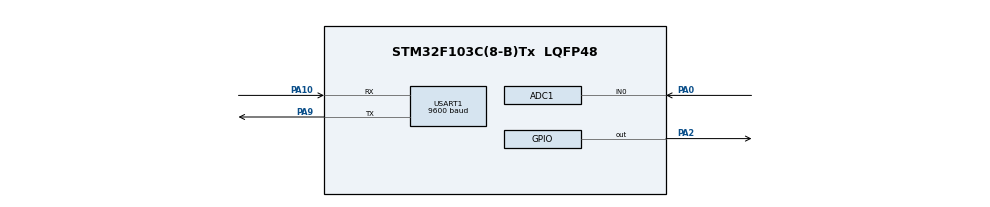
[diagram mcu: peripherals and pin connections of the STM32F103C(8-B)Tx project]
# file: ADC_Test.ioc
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ADC1.Channel-0\#ChannelRegularConversion=ADC_CHANNEL_0
ADC1.ContinuousConvMode=ENABLE
ADC1.DataAlign=ADC_DATAALIGN_RIGHT
ADC1.DiscontinuousConvMode=DISABLE
ADC1.EnableAnalogWatchDog=false
ADC1.EnableRegularConversion=ENABLE
ADC1.ExternalTrigConv=ADC_SOFTWARE_START
ADC1.InjNumberOfConversion=0
ADC1.NbrOfConversion=1
ADC1.NbrOfConversionFlag=1
ADC1.Rank-0\#ChannelRegularConversion=1
ADC1.SamplingTime-0\#ChannelRegularConversion=ADC_SAMPLETIME_1CYCLE_5
ADC1.ScanConvMode=ADC_SCAN_DISABLE
ADC1.master=1
Mcu.Family=STM32F1
Mcu.Name=STM32F103C(8-B)Tx
Mcu.Package=LQFP48
NVIC.PriorityGroup=NVIC_PRIORITYGROUP_4
PA0-WKUP.Signal=ADCx_IN0
PA10.Mode=Asynchronous
PA10.Signal=USART1_RX
PA2.Signal=GPIO_Output
PA9.Mode=Asynchronous
PA9.Signal=USART1_TX
ProjectManager.HeapSize=0x200
ProjectManager.StackSize=0x400
ProjectManager.TargetToolchain=Makefile
RCC.APB1Freq_Value=8000000
RCC.APB2Freq_Value=8000000
SH.ADCx_IN0.0=ADC1_IN0,IN0
USART1.BaudRate=9600
USART1.VirtualMode=VM_ASYNC
VP_SYS_VS_ND.Mode=No_Debug
board=ADC_Test

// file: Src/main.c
/**
  ******************************************************************************
  * @file           : main.c
  * @brief          : Main program body
  ******************************************************************************
  ** This notice applies to any and all portions of this file
  * that are not between comment pairs USER CODE BEGIN and
  * USER CODE END. Other portions of this file, whether
  * inserted by the user or by software development tools
  * are owned by their respective copyright owners.
  *
  * COPYRIGHT(c) 2018 STMicroelectronics
  *
  * Redistribution and use in source and binary forms, with or without modification,
  * are permitted provided that the following conditions are met:
  *   1. Redistributions of source code must retain the above copyright notice,
  *      this list of conditions and the following disclaimer.
  *   2. Redistributions in binary form must reproduce the above copyright notice,
  *      this list of conditions and the following disclaimer in the documentation
  *      and/or other materials provided with the distribution.
  *   3. Neither the name of STMicroelectronics nor the names of its contributors
  *      may be used to endorse or promote products derived from this software
  *      without specific prior written permission.
  *
  * THIS SOFTWARE IS PROVIDED BY THE COPYRIGHT HOLDERS AND CONTRIBUTORS "AS IS"
  * AND ANY EXPRESS OR IMPLIED WARRANTIES, INCLUDING, BUT NOT LIMITED TO, THE
  * IMPLIED WARRANTIES OF MERCHANTABILITY AND FITNESS FOR A PARTICULAR PURPOSE ARE
  * DISCLAIMED. IN NO EVENT SHALL THE COPYRIGHT HOLDER OR CONTRIBUTORS BE LIABLE
  * FOR ANY DIRECT, INDIRECT, INCIDENTAL, SPECIAL, EXEMPLARY, OR CONSEQUENTIAL
  * DAMAGES (INCLUDING, BUT NOT LIMITED TO, PROCUREMENT OF SUBSTITUTE GOODS OR
  * SERVICES; LOSS OF USE, DATA, OR PROFITS; OR BUSINESS INTERRUPTION) HOWEVER
  * CAUSED AND ON ANY THEORY OF LIABILITY, WHETHER IN CONTRACT, STRICT LIABILITY,
  * OR TORT (INCLUDING NEGLIGENCE OR OTHERWISE) ARISING IN ANY WAY OUT OF THE USE
  * OF THIS SOFTWARE, EVEN IF ADVISED OF THE POSSIBILITY OF SUCH DAMAGE.
  *
  ******************************************************************************
  */
#include "main.h"
#include "stm32f1xx_hal.h"

/* USER CODE BEGIN Includes */
#include "string.h"
/* USER CODE END Includes */

ADC_HandleTypeDef hadc1;

UART_HandleTypeDef huart1;

/* USER CODE BEGIN PV */
/* Private variables ---------------------------------------------------------*/

/* USER CODE END PV */

void SystemClock_Config(void);
static void MX_GPIO_Init(void);
static void MX_ADC1_Init(void);
static void MX_USART1_UART_Init(void);

/* USER CODE BEGIN PFP */
/* Private function prototypes -----------------------------------------------*/

/* USER CODE END PFP */

int main(void)
{

  /* MCU Configuration----------------------------------------------------------*/

  /* Reset of all peripherals, Initializes the Flash interface and the Systick. */
  HAL_Init();

  /* Configure the system clock */
  SystemClock_Config();

  /* Initialize all configured peripherals */
  MX_GPIO_Init();
  MX_ADC1_Init();
  MX_USART1_UART_Init();
  /* USER CODE BEGIN 2 */
  HAL_GPIO_WritePin(GPIOA,GPIO_PIN_2,GPIO_PIN_RESET);
  HAL_ADCEx_Calibration_Start(&hadc1);

  uint32_t adc1_value;
  float adc1_v;
  char buf[100];
  /* USER CODE END 2 */

  /* Infinite loop */
  /* USER CODE BEGIN WHILE */
  HAL_ADC_Start(&hadc1);
  while (1)
  {

  /* USER CODE END WHILE */

  /* USER CODE BEGIN 3 */
   HAL_GPIO_WritePin(GPIOA,GPIO_PIN_2,GPIO_PIN_RESET);

   HAL_ADC_PollForConversion(&hadc1, 100);
   adc1_value = HAL_ADC_GetValue(&hadc1);
   adc1_v = (float)adc1_value / 4095 * 3.3;
   sprintf(buf, "Current Voltage is: %.2f\n", adc1_v);
   HAL_UART_Transmit(&huart1, (uint8_t*)buf, strlen(buf), 0xFFFF);

   HAL_Delay(100);
   HAL_GPIO_WritePin(GPIOA,GPIO_PIN_2,GPIO_PIN_SET);
   HAL_Delay(400);
  }
  HAL_ADC_Stop(&hadc1);
  /* USER CODE END 3 */

}

void SystemClock_Config(void)
{

  RCC_OscInitTypeDef RCC_OscInitStruct;
  RCC_ClkInitTypeDef RCC_ClkInitStruct;
  RCC_PeriphCLKInitTypeDef PeriphClkInit;

    /**Initializes the CPU, AHB and APB busses clocks
    */
  RCC_OscInitStruct.OscillatorType = RCC_OSCILLATORTYPE_HSI;
  RCC_OscInitStruct.HSIState = RCC_HSI_ON;
  RCC_OscInitStruct.HSICalibrationValue = 16;
  RCC_OscInitStruct.PLL.PLLState = RCC_PLL_NONE;
  if (HAL_RCC_OscConfig(&RCC_OscInitStruct) != HAL_OK)
  {
    _Error_Handler(__FILE__, __LINE__);
  }

    /**Initializes the CPU, AHB and APB busses clocks
    */
  RCC_ClkInitStruct.ClockType = RCC_CLOCKTYPE_HCLK|RCC_CLOCKTYPE_SYSCLK
                              |RCC_CLOCKTYPE_PCLK1|RCC_CLOCKTYPE_PCLK2;
  RCC_ClkInitStruct.SYSCLKSource = RCC_SYSCLKSOURCE_HSI;
  RCC_ClkInitStruct.AHBCLKDivider = RCC_SYSCLK_DIV1;
  RCC_ClkInitStruct.APB1CLKDivider = RCC_HCLK_DIV1;
  RCC_ClkInitStruct.APB2CLKDivider = RCC_HCLK_DIV1;

  if (HAL_RCC_ClockConfig(&RCC_ClkInitStruct, FLASH_LATENCY_0) != HAL_OK)
  {
    _Error_Handler(__FILE__, __LINE__);
  }

  PeriphClkInit.PeriphClockSelection = RCC_PERIPHCLK_ADC;
  PeriphClkInit.AdcClockSelection = RCC_ADCPCLK2_DIV2;
  if (HAL_RCCEx_PeriphCLKConfig(&PeriphClkInit) != HAL_OK)
  {
    _Error_Handler(__FILE__, __LINE__);
  }

    /**Configure the Systick interrupt time
    */
  HAL_SYSTICK_Config(HAL_RCC_GetHCLKFreq()/1000);

    /**Configure the Systick
    */
  HAL_SYSTICK_CLKSourceConfig(SYSTICK_CLKSOURCE_HCLK);

  /* SysTick_IRQn interrupt configuration */
  HAL_NVIC_SetPriority(SysTick_IRQn, 0, 0);
}

/* ADC1 init function */
static void MX_ADC1_Init(void)
{

  ADC_ChannelConfTypeDef sConfig;

    /**Common config
    */
  hadc1.Instance = ADC1;
  hadc1.Init.ScanConvMode = ADC_SCAN_DISABLE;
  hadc1.Init.ContinuousConvMode = ENABLE;
  hadc1.Init.DiscontinuousConvMode = DISABLE;
  hadc1.Init.ExternalTrigConv = ADC_SOFTWARE_START;
  hadc1.Init.DataAlign = ADC_DATAALIGN_RIGHT;
  hadc1.Init.NbrOfConversion = 1;
  if (HAL_ADC_Init(&hadc1) != HAL_OK)
  {
    _Error_Handler(__FILE__, __LINE__);
  }

    /**Configure Regular Channel
    */
  sConfig.Channel = ADC_CHANNEL_0;
  sConfig.Rank = ADC_REGULAR_RANK_1;
  sConfig.SamplingTime = ADC_SAMPLETIME_1CYCLE_5;
  if (HAL_ADC_ConfigChannel(&hadc1, &sConfig) != HAL_OK)
  {
    _Error_Handler(__FILE__, __LINE__);
  }

}

/* USART1 init function */
static void MX_USART1_UART_Init(void)
{

  huart1.Instance = USART1;
  huart1.Init.BaudRate = 9600;
  huart1.Init.WordLength = UART_WORDLENGTH_8B;
  huart1.Init.StopBits = UART_STOPBITS_1;
  huart1.Init.Parity = UART_PARITY_NONE;
  huart1.Init.Mode = UART_MODE_TX_RX;
  huart1.Init.HwFlowCtl = UART_HWCONTROL_NONE;
  huart1.Init.OverSampling = UART_OVERSAMPLING_16;
  if (HAL_UART_Init(&huart1) != HAL_OK)
  {
    _Error_Handler(__FILE__, __LINE__);
  }

}

/** Configure pins as
        * Analog
        * Input
        * Output
        * EVENT_OUT
        * EXTI
*/
static void MX_GPIO_Init(void)
{

  GPIO_InitTypeDef GPIO_InitStruct;

  /* GPIO Ports Clock Enable */
  __HAL_RCC_GPIOA_CLK_ENABLE();

  /*Configure GPIO pin Output Level */
  HAL_GPIO_WritePin(GPIOA, GPIO_PIN_2, GPIO_PIN_RESET);

  /*Configure GPIO pin : PA2 */
  GPIO_InitStruct.Pin = GPIO_PIN_2;
  GPIO_InitStruct.Mode = GPIO_MODE_OUTPUT_PP;
  GPIO_InitStruct.Speed = GPIO_SPEED_FREQ_LOW;
  HAL_GPIO_Init(GPIOA, &GPIO_InitStruct);

}

void _Error_Handler(char *file, int line)
{
  while(1)
  {
  }
}

/************************ (C) COPYRIGHT STMicroelectronics *****END OF FILE****/
